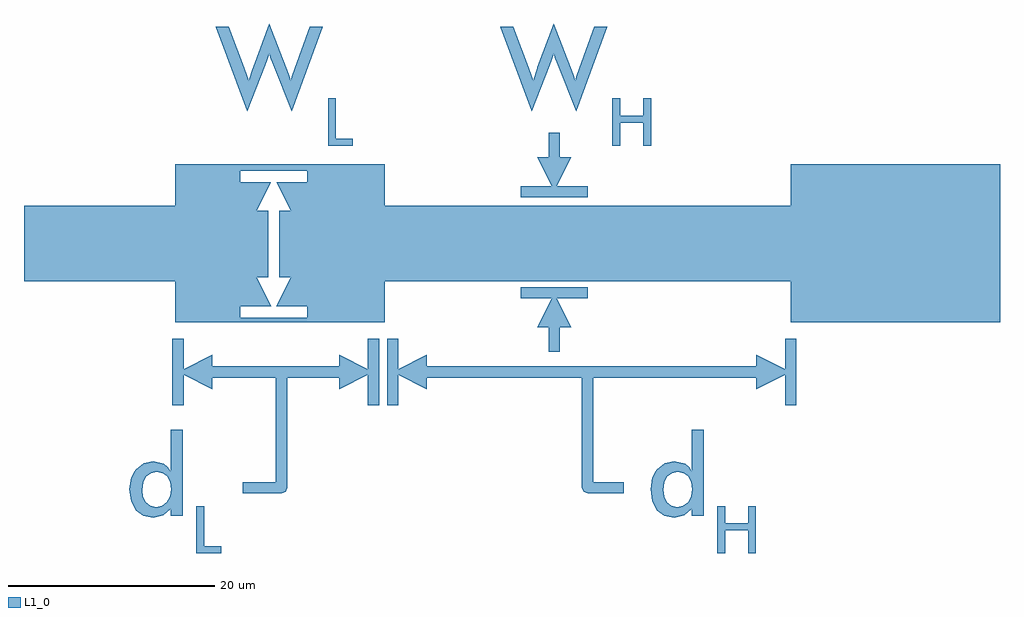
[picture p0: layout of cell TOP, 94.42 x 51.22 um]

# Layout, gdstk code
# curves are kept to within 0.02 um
import gdstk
lib = gdstk.Library(unit=1e-6, precision=1e-09)
def P(c, l, *ps):  # polygons
    for p in ps: c.add(gdstk.Polygon(p, *l))
L1_0 = (1, 0)

top = lib.new_cell('TOP')
P(top, L1_0, [(16.679,0.109),(16.679,4.675),(17.421,4.675),(17.421,0.774),(19.08,0.774),(19.08,0.109)],
  [(67.084,0.109),(67.084,4.675),(67.827,4.675),(67.827,2.991),(70.072,2.991),(70.072,4.675),(70.814,4.675),(70.814,0.109),(70.072,0.109),(70.072,2.327),(67.827,2.327),(67.827,0.109)],
  [(12.518,3.549),(11.556,3.732),(10.822,4.281),(10.361,5.155),(10.207,6.298),(10.365,7.394),(10.682,7.972),(12.833,7.972),(12.245,7.858),(11.795,7.517),(11.515,6.98),(11.421,6.266),(11.512,5.55),(11.785,5.02),(12.223,4.691),(12.812,4.581),(13.383,4.699),(13.833,5.052),(14.126,5.604),(14.224,6.309),(14.131,7.008),(13.855,7.533),(13.417,7.862),(12.833,7.972),(10.682,7.972),(10.838,8.256),(11.565,8.817),(12.486,9.004),(13.545,8.742),(13.928,8.428),(14.192,7.999),(14.192,12.048),(15.352,12.048),(15.352,3.757),(14.192,3.757),(14.192,4.415),(13.464,3.763)],
  [(62.923,3.549),(61.962,3.732),(61.228,4.281),(60.767,5.155),(60.613,6.298),(60.771,7.394),(61.088,7.972),(63.239,7.972),(62.651,7.858),(62.201,7.517),(61.921,6.98),(61.827,6.266),(61.918,5.55),(62.191,5.02),(62.629,4.691),(63.218,4.581),(63.789,4.699),(64.239,5.052),(64.532,5.604),(64.63,6.309),(64.537,7.008),(64.261,7.533),(63.823,7.862),(63.239,7.972),(61.088,7.972),(61.244,8.256),(61.971,8.817),(62.891,9.004),(63.95,8.742),(64.334,8.428),(64.598,7.999),(64.598,12.048),(65.758,12.048),(65.758,3.757),(64.598,3.757),(64.598,4.415),(63.87,3.763)],
  [(21.171,5.896),(21.171,6.998),(24.364,6.998),(24.364,17.098),(18.201,17.098),(18.201,15.996),(15.445,17.374),(15.445,14.422),(14.342,14.422),(14.342,20.877),(15.445,20.877),(15.445,17.925),(18.201,19.303),(18.201,18.201),(30.478,18.201),(30.478,19.303),(33.271,17.906),(33.271,20.877),(34.374,20.877),(34.374,14.422),(33.271,14.422),(33.271,17.393),(30.478,15.996),(30.478,17.098),(25.467,17.098),(25.467,6.447),(25.305,6.057),(24.915,5.896)],
  [(54.529,5.896),(54.139,6.057),(53.978,6.447),(53.978,17.098),(38.979,17.098),(38.979,15.996),(36.223,17.374),(36.223,14.422),(35.121,14.422),(35.121,20.878),(36.223,20.878),(36.223,17.925),(38.979,19.303),(38.979,18.201),(70.835,18.201),(70.835,19.303),(73.628,17.907),(73.628,20.878),(74.731,20.878),(74.731,14.422),(73.628,14.422),(73.628,17.393),(70.835,15.996),(70.835,17.098),(55.08,17.098),(55.08,6.999),(58.027,6.999),(58.027,5.896)],
  [(50.751,19.612),(50.751,21.967),(49.648,21.967),(51.045,24.761),(48.074,24.761),(48.074,25.863),(54.53,25.863),(54.53,24.761),(51.559,24.761),(52.956,21.967),(51.853,21.967),(51.853,19.612)],
  [(14.644,22.462),(14.644,26.44),(0.002,26.44),(0.002,33.747),(14.644,33.747),(14.644,37.107),(20.936,37.107),(20.936,36.005),(23.889,36.005),(22.511,33.249),(23.613,33.249),(23.613,26.793),(22.511,26.793),(23.908,23.999),(20.936,23.999),(20.936,22.897),(27.392,22.897),(27.392,23.999),(24.422,23.999),(25.818,26.793),(24.716,26.793),(24.716,33.249),(25.818,33.249),(24.44,36.005),(27.392,36.005),(27.392,37.107),(14.644,37.107),(14.644,37.724),(34.881,37.724),(34.881,33.747),(74.182,33.747),(74.182,37.724),(94.419,37.724),(94.419,22.462),(74.182,22.462),(74.182,26.44),(34.881,26.44),(34.881,22.462)],
  [(48.074,34.532),(48.074,35.634),(51.045,35.634),(49.648,38.427),(50.751,38.427),(50.751,40.783),(51.853,40.783),(51.853,38.427),(52.956,38.427),(51.559,35.634),(54.53,35.634),(54.53,34.532)],
  [(29.415,39.54),(29.415,44.106),(30.158,44.106),(30.158,40.205),(31.817,40.205),(31.817,39.54)],
  [(56.932,39.54),(56.932,44.106),(57.674,44.106),(57.674,42.422),(59.919,42.422),(59.919,44.106),(60.661,44.106),(60.661,39.54),(59.919,39.54),(59.919,41.758),(57.674,41.758),(57.674,39.54)],
  [(21.596,42.883),(18.574,51.019),(19.831,51.019),(21.313,47.066),(21.73,45.831),(22.12,47.045),(23.73,51.329),(25.388,47.066),(25.806,45.82),(25.95,46.349),(26.185,47.034),(27.656,51.019),(28.924,51.019),(25.891,42.883),(24.104,47.35),(23.719,48.446),(23.35,47.328)],
  [(49.112,42.883),(46.09,51.019),(47.347,51.019),(48.829,47.066),(49.246,45.831),(49.636,47.045),(51.246,51.329),(52.905,47.066),(53.322,45.82),(53.466,46.349),(53.701,47.034),(55.172,51.019),(56.44,51.019),(53.407,42.883),(51.621,47.35),(51.236,48.446),(50.867,47.328)])
top.add(gdstk.FlexPath([(14.644,26.44),(14.644,26.44)], 0, ends="flush", simple_path=True, layer=1, datatype=0))  # L1_0
top.add(gdstk.FlexPath([(23.908,23.999),(23.908,23.999)], 0, ends="flush", simple_path=True, layer=1, datatype=0))  # L1_0
top.add(gdstk.FlexPath([(64.598,12.048),(64.598,12.048)], 0, ends="flush", simple_path=True, layer=1, datatype=0))  # L1_0
top.add(gdstk.FlexPath([(67.084,0.109),(67.084,0.109)], 0, ends="flush", simple_path=True, layer=1, datatype=0))  # L1_0
top.add(gdstk.FlexPath([(56.932,39.54),(56.932,39.54)], 0, ends="flush", simple_path=True, layer=1, datatype=0))  # L1_0
top.add(gdstk.FlexPath([(18.574,51.019),(18.574,51.019)], 0, ends="flush", simple_path=True, layer=1, datatype=0))  # L1_0
top.add(gdstk.FlexPath([(29.415,39.54),(29.415,39.54)], 0, ends="flush", simple_path=True, layer=1, datatype=0))  # L1_0
top.add(gdstk.FlexPath([(14.192,12.048),(14.192,12.048)], 0, ends="flush", simple_path=True, layer=1, datatype=0))  # L1_0
top.add(gdstk.FlexPath([(16.679,0.109),(16.679,0.109)], 0, ends="flush", simple_path=True, layer=1, datatype=0))  # L1_0
top.add(gdstk.FlexPath([(15.445,17.374),(15.445,17.374)], 0, ends="flush", simple_path=True, layer=1, datatype=0))  # L1_0
top.add(gdstk.FlexPath([(36.223,17.374),(36.223,17.374)], 0, ends="flush", simple_path=True, layer=1, datatype=0))  # L1_0
top.add(gdstk.FlexPath([(51.559,35.634),(51.559,35.634)], 0, ends="flush", simple_path=True, layer=1, datatype=0))  # L1_0
top.add(gdstk.FlexPath([(51.045,24.761),(51.045,24.761)], 0, ends="flush", simple_path=True, layer=1, datatype=0))  # L1_0

lib.write_gds('TOP.gds')
